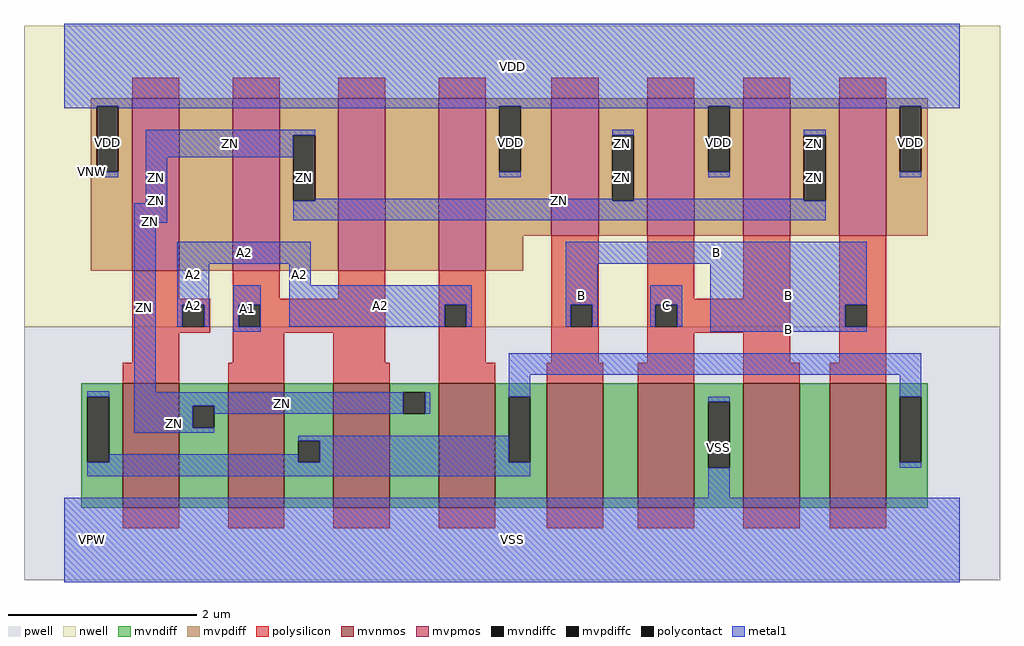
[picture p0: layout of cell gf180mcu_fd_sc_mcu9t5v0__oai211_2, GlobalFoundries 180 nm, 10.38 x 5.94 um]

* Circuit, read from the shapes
.subckt gf180mcu_fd_sc_mcu9t5v0__oai211_2 A1 A2 B C ZN VDD VNW VPW VSS
XM1 ZN A2 n1 VPW nfet_06v0 w=1.32u l=0.6u m=2
XM2 n1 A1 ZN VPW nfet_06v0 w=1.32u l=0.6u m=2
XM3 n2 B n1 VPW nfet_06v0 w=1.32u l=0.6u
XM4 VSS C n2 VPW nfet_06v0 w=1.32u l=0.6u
XM5 n3 C VSS VPW nfet_06v0 w=1.32u l=0.6u
XM6 n1 B n3 VPW nfet_06v0 w=1.32u l=0.6u
XM7 n4 A2 VDD VNW pfet_06v0 w=1.83u l=0.5u
XM8 ZN A1 n4 VNW pfet_06v0 w=1.83u l=0.5u
XM9 n5 A1 ZN VNW pfet_06v0 w=1.83u l=0.5u
XM10 VDD A2 n5 VNW pfet_06v0 w=1.83u l=0.5u
XM11 ZN B VDD VNW pfet_06v0 w=1.46u l=0.5u m=2
XM12 VDD C ZN VNW pfet_06v0 w=1.46u l=0.5u m=2
.ends

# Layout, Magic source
magic
tech gf180mcuD
magscale 1 10
<< nwell >>
rect -86 453 1990 1094
<< pwell >>
rect -86 -86 1990 453
<< mvnmos >>
rect 124 69 244 333
rect 348 69 468 333
rect 572 69 692 333
rect 796 69 916 333
rect 1026 69 1146 333
rect 1220 69 1340 333
rect 1444 69 1564 333
rect 1628 69 1748 333
<< mvpmos >>
rect 144 573 244 939
rect 358 573 458 939
rect 582 573 682 939
rect 796 573 896 939
rect 1036 647 1136 939
rect 1240 647 1340 939
rect 1444 647 1544 939
rect 1648 647 1748 939
<< mvndiff >>
rect 36 305 124 333
rect 36 165 49 305
rect 95 165 124 305
rect 36 69 124 165
rect 244 285 348 333
rect 244 239 273 285
rect 319 239 348 285
rect 244 69 348 239
rect 468 211 572 333
rect 468 165 497 211
rect 543 165 572 211
rect 468 69 572 165
rect 692 314 796 333
rect 692 268 721 314
rect 767 268 796 314
rect 692 69 796 268
rect 916 305 1026 333
rect 916 165 945 305
rect 991 165 1026 305
rect 916 69 1026 165
rect 1146 69 1220 333
rect 1340 294 1444 333
rect 1340 154 1369 294
rect 1415 154 1444 294
rect 1340 69 1444 154
rect 1564 69 1628 333
rect 1748 305 1836 333
rect 1748 165 1777 305
rect 1823 165 1836 305
rect 1748 69 1836 165
<< mvpdiff >>
rect 56 923 144 939
rect 56 783 69 923
rect 115 783 144 923
rect 56 573 144 783
rect 244 573 358 939
rect 458 861 582 939
rect 458 721 487 861
rect 533 721 582 861
rect 458 573 582 721
rect 682 573 796 939
rect 896 923 1036 939
rect 896 783 925 923
rect 971 783 1036 923
rect 896 647 1036 783
rect 1136 861 1240 939
rect 1136 721 1165 861
rect 1211 721 1240 861
rect 1136 647 1240 721
rect 1340 923 1444 939
rect 1340 783 1369 923
rect 1415 783 1444 923
rect 1340 647 1444 783
rect 1544 861 1648 939
rect 1544 721 1573 861
rect 1619 721 1648 861
rect 1544 647 1648 721
rect 1748 923 1836 939
rect 1748 783 1777 923
rect 1823 783 1836 923
rect 1748 647 1836 783
rect 896 573 976 647
<< mvndiffc >>
rect 49 165 95 305
rect 273 239 319 285
rect 497 165 543 211
rect 721 268 767 314
rect 945 165 991 305
rect 1369 154 1415 294
rect 1777 165 1823 305
<< mvpdiffc >>
rect 69 783 115 923
rect 487 721 533 861
rect 925 783 971 923
rect 1165 721 1211 861
rect 1369 783 1415 923
rect 1573 721 1619 861
rect 1777 783 1823 923
<< polysilicon >>
rect 144 939 244 983
rect 358 939 458 983
rect 582 939 682 983
rect 796 939 896 983
rect 1036 939 1136 983
rect 1240 939 1340 983
rect 1444 939 1544 983
rect 1648 939 1748 983
rect 144 513 244 573
rect 358 513 458 573
rect 582 513 682 573
rect 144 500 310 513
rect 144 454 251 500
rect 297 454 310 500
rect 144 441 310 454
rect 358 500 682 513
rect 358 454 371 500
rect 417 454 682 500
rect 358 441 682 454
rect 144 377 244 441
rect 358 377 468 441
rect 124 333 244 377
rect 348 333 468 377
rect 572 377 682 441
rect 796 500 896 573
rect 796 454 809 500
rect 855 454 896 500
rect 796 377 896 454
rect 1036 500 1136 647
rect 1036 454 1077 500
rect 1123 454 1136 500
rect 1036 377 1136 454
rect 1240 513 1340 647
rect 1444 513 1544 647
rect 1240 500 1544 513
rect 1240 454 1257 500
rect 1303 454 1544 500
rect 1240 441 1544 454
rect 1240 377 1340 441
rect 572 333 692 377
rect 796 333 916 377
rect 1026 333 1146 377
rect 1220 333 1340 377
rect 1444 377 1544 441
rect 1648 500 1748 647
rect 1648 454 1661 500
rect 1707 454 1748 500
rect 1648 377 1748 454
rect 1444 333 1564 377
rect 1628 333 1748 377
rect 124 25 244 69
rect 348 25 468 69
rect 572 25 692 69
rect 796 25 916 69
rect 1026 25 1146 69
rect 1220 25 1340 69
rect 1444 25 1564 69
rect 1628 25 1748 69
<< polycontact >>
rect 251 454 297 500
rect 371 454 417 500
rect 809 454 855 500
rect 1077 454 1123 500
rect 1257 454 1303 500
rect 1661 454 1707 500
<< metal1 >>
rect 0 923 1904 1098
rect 0 918 69 923
rect 115 918 925 923
rect 69 772 115 783
rect 173 861 533 872
rect 173 814 487 861
rect 173 716 219 814
rect 148 675 219 716
rect 971 918 1369 923
rect 925 772 971 783
rect 1165 861 1211 872
rect 533 721 1165 726
rect 1415 918 1777 923
rect 1369 772 1415 783
rect 1573 861 1619 872
rect 1211 721 1573 726
rect 1823 918 1904 923
rect 1777 772 1823 783
rect 487 680 1619 721
rect 49 305 95 316
rect 148 314 194 675
rect 240 588 524 634
rect 240 500 308 588
rect 478 542 524 588
rect 1066 588 1707 634
rect 240 454 251 500
rect 297 454 308 500
rect 359 500 418 542
rect 359 454 371 500
rect 417 454 418 500
rect 478 500 866 542
rect 478 454 809 500
rect 855 454 866 500
rect 1066 500 1134 588
rect 1066 454 1077 500
rect 1123 454 1134 500
rect 1246 500 1314 542
rect 1246 454 1257 500
rect 1303 454 1314 500
rect 1374 500 1707 588
rect 1374 454 1661 500
rect 359 443 418 454
rect 1374 443 1707 454
rect 945 351 1823 397
rect 148 285 721 314
rect 148 239 273 285
rect 319 268 721 285
rect 767 268 778 314
rect 945 305 991 351
rect 1777 305 1823 351
rect 148 228 319 239
rect 497 211 945 222
rect 95 165 497 182
rect 543 165 945 211
rect 49 136 991 165
rect 1369 294 1415 305
rect 1777 154 1823 165
rect 1369 90 1415 154
rect 0 -90 1904 90
<< labels >>
flabel metal1 s 359 443 418 542 0 FreeSans 200 0 0 0 A1
port 1 nsew default input
flabel metal1 s 240 588 524 634 0 FreeSans 200 0 0 0 A2
port 2 nsew default input
flabel metal1 s 1066 588 1707 634 0 FreeSans 200 0 0 0 B
port 3 nsew default input
flabel metal1 s 1246 454 1314 542 0 FreeSans 200 0 0 0 C
port 4 nsew default input
flabel metal1 s 0 918 1904 1098 0 FreeSans 200 0 0 0 VDD
port 6 nsew power bidirectional abutment
flabel metal1 s 1369 90 1415 305 0 FreeSans 200 0 0 0 VSS
port 9 nsew ground bidirectional abutment
flabel metal1 s 1573 814 1619 872 0 FreeSans 200 0 0 0 ZN
port 5 nsew default output
flabel nwell s 10 734 110 834 0 FreeSans 400 0 0 0 VNW
port 7 nsew power bidirectional
flabel pwell s 10 -50 110 50 0 FreeSans 400 0 0 0 VPW
port 8 nsew ground bidirectional
rlabel metal1 s 478 542 524 588 1 A2
port 2 nsew default input
rlabel metal1 s 240 542 308 588 1 A2
port 2 nsew default input
rlabel metal1 s 478 454 866 542 1 A2
port 2 nsew default input
rlabel metal1 s 240 454 308 542 1 A2
port 2 nsew default input
rlabel metal1 s 1374 454 1707 588 1 B
port 3 nsew default input
rlabel metal1 s 1066 454 1134 588 1 B
port 3 nsew default input
rlabel metal1 s 1374 443 1707 454 1 B
port 3 nsew default input
rlabel metal1 s 1165 814 1211 872 1 ZN
port 5 nsew default output
rlabel metal1 s 173 814 533 872 1 ZN
port 5 nsew default output
rlabel metal1 s 1573 726 1619 814 1 ZN
port 5 nsew default output
rlabel metal1 s 1165 726 1211 814 1 ZN
port 5 nsew default output
rlabel metal1 s 487 726 533 814 1 ZN
port 5 nsew default output
rlabel metal1 s 173 726 219 814 1 ZN
port 5 nsew default output
rlabel metal1 s 487 716 1619 726 1 ZN
port 5 nsew default output
rlabel metal1 s 173 716 219 726 1 ZN
port 5 nsew default output
rlabel metal1 s 487 680 1619 716 1 ZN
port 5 nsew default output
rlabel metal1 s 148 680 219 716 1 ZN
port 5 nsew default output
rlabel metal1 s 148 675 219 680 1 ZN
port 5 nsew default output
rlabel metal1 s 148 314 194 675 1 ZN
port 5 nsew default output
rlabel metal1 s 148 268 778 314 1 ZN
port 5 nsew default output
rlabel metal1 s 148 228 319 268 1 ZN
port 5 nsew default output
rlabel metal1 s 1777 772 1823 918 1 VDD
port 6 nsew power bidirectional abutment
rlabel metal1 s 1369 772 1415 918 1 VDD
port 6 nsew power bidirectional abutment
rlabel metal1 s 925 772 971 918 1 VDD
port 6 nsew power bidirectional abutment
rlabel metal1 s 69 772 115 918 1 VDD
port 6 nsew power bidirectional abutment
rlabel metal1 s 0 -90 1904 90 1 VSS
port 9 nsew ground bidirectional abutment
<< properties >>
string FIXED_BBOX 0 0 1904 1008
string GDS_END 212564
string GDS_FILE $PDKPATH/libs.ref/gf180mcu_fd_sc_mcu9t5v0/gds/gf180mcu_fd_sc_mcu9t5v0.gds
string GDS_START 207412
string LEFclass core
string LEFsite GF018hv5v_green_sc9
string LEFsymmetry X Y
<< end >>
